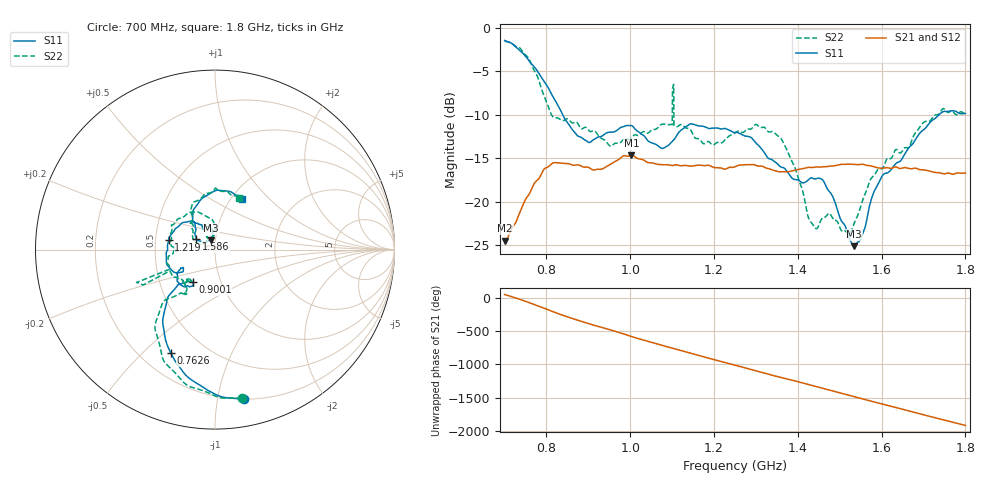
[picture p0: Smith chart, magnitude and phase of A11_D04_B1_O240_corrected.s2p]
! Created with skrf 1.9.0 (http://scikit-rf.org).
# Hz S RI R 50.0
!freq ReS11 ImS11 ReS21 ImS21 ReS12 ImS12 ReS22 ImS22
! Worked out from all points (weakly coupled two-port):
!   1601 points, 700 MHz to 1.8 GHz, reference 50 ohm
!   highest |S21| = -14.66 dB at 1.002 GHz (marker M1); lowest = -24.5 dB at 701.4 MHz (marker M2)
!   lowest |S11| = -25.1 dB at 1.535 GHz (marker M3), VSWR 1.12, Z = 47.6 + j4.89 ohm
!   |S11| at or under -10 dB: 838.6 MHz to 1.737 GHz (898.2 MHz wide, 69.8 % of centre)
!   |S22| runs from -23.8 to -1.5 dB; largest |S21 - S12| = 0.0035
!   S11 on the Smith chart (normalised r, x): 700 MHz: 0.20, -1.19; 762.6 MHz: 0.32, -0.61; 900.1 MHz: 0.73, -0.28; 1.219 GHz: 0.59, +0.07; 1.586 GHz: 0.81, +0.10; 1.8 GHz: 1.12, +0.71
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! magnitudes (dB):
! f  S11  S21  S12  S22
! 700 MHz  -1.4  -24.5  -24.3  -1.5
! 701.4 MHz  -1.5  -24.5  -24.1  -1.5
! 762.6 MHz  -4.1  -18.7  -18.7  -4.0
! 814.1 MHz  -7.8  -15.6  -15.6  -10.2
! 883.6 MHz  -12.6  -15.9  -15.8  -11.6
! 900.1 MHz  -13.2  -16.0  -16.1  -11.7
! 952.3 MHz  -12.0  -15.7  -15.7  -13.6
! 1.002 GHz  -11.2  -14.7  -14.8  -12.7
! 1.067 GHz  -13.6  -15.7  -15.6  -11.4
! 1.099 GHz  -13.1  -15.8  -15.8  -11.1
! 1.143 GHz  -11.0  -15.9  -15.9  -11.7
! 1.219 GHz  -11.6  -16.1  -16.2  -13.2
! 1.25 GHz  -12.0  -16.0  -15.9  -12.1
! 1.359 GHz  -16.0  -16.6  -16.5  -12.7
! 1.434 GHz  -17.3  -16.1  -16.0  -22.5
! 1.462 GHz  -17.7  -16.0  -16.0  -21.8
! 1.521 GHz  -23.9  -15.7  -15.7  -23.8
! 1.535 GHz  -25.1  -15.7  -15.7  -22.4
! 1.586 GHz  -18.4  -16.0  -16.0  -16.7
! 1.617 GHz  -16.6  -16.1  -16.1  -15.0
! 1.742 GHz  -9.8  -16.7  -16.7  -9.6
! 1.8 GHz  -9.8  -16.7  -16.7  -9.9
